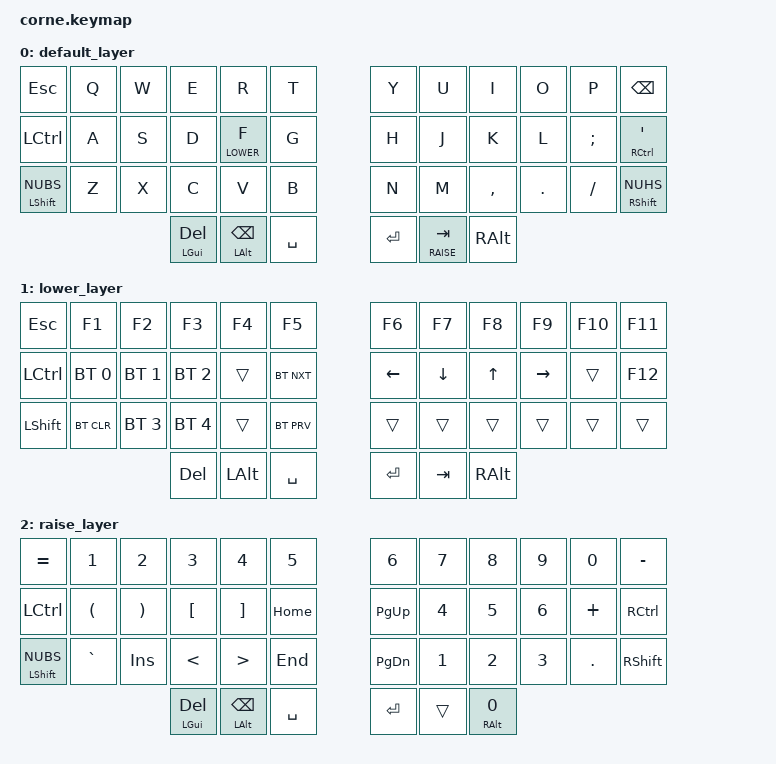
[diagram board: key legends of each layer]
/*
 * Copyright (c) 2020 The ZMK Contributors
 *
 * SPDX-License-Identifier: MIT
 */

#include <behaviors.dtsi>
#include <dt-bindings/zmk/bt.h>
#include <dt-bindings/zmk/keys.h>

#define DEFAULT 0
#define LOWER   1
#define RAISE   2

/ {
    keymap {
        compatible = "zmk,keymap";

        default_layer {
            // -----------------------------------------------------------------------------------------
            // |  ESC |  Q  |  W  |  E  |  R  |  T  |   |  Y  |  U   |  I  |  O  |  P  | BKSP |
            // | CTRL |  A  |  S  |  D  |F LWR|  G  |   |  H  |  J   |  K  |  L  |  ;  |CTRL '|
            // |SHFT \|  Z  |  X  |  C  |  V  |  B  |   |  N  |  M   |  ,  |  .  |  /  |SHFT #|
            //               |GUI DEL|ALT BKSP| SPC |   | ENT |RSE TAB| ALT |

            bindings = <
&kp ESC         &kp Q  &kp W  &kp E         &kp R          &kp T        &kp Y    &kp U          &kp I      &kp O    &kp P     &kp BSPC
&kp LCTRL       &kp A  &kp S  &kp D         &lt LOWER F    &kp G        &kp H    &kp J          &kp K      &kp L    &kp SEMI  &mt RCTRL SQT
&mt LSHFT NUBS  &kp Z  &kp X  &kp C         &kp V          &kp B        &kp N    &kp M          &kp COMMA  &kp DOT  &kp FSLH  &mt RSHFT NUHS
                              &mt LGUI DEL  &mt LALT BSPC  &kp SPACE    &kp RET  &lt RAISE TAB  &kp RALT
            >;
        };

        lower_layer {
            // -----------------------------------------------------------------------------------------
            // | ESC  |  F1 |  F2 |  F3 |  F4 |  F5 |   |  F6 |  F7 |  F8 |  F9 | F10 | F11  |
            // | CTRL | BT1 | BT2 | BT3 | trns|     |   | LFT | DWN |  UP | RGT |     | F12  |
            // | SHFT |BT CLR| BT4| BT5 |     |     |   |     |     |     |     |     |      |
            //                    | DEL | ALT | SPC |   | ENT | TAB | ALT |

            bindings = <
&kp ESC    &kp F1        &kp F2        &kp F3        &kp F4    &kp F5        &kp F6    &kp F7    &kp F8    &kp F9     &kp F10  &kp F11
&kp LCTRL  &bt BT_SEL 0  &bt BT_SEL 1  &bt BT_SEL 2  &trans    &bt BT_NXT    &kp LEFT  &kp DOWN  &kp UP    &kp RIGHT  &trans   &kp F12
&kp LSHFT  &bt BT_CLR    &bt BT_SEL 3  &bt BT_SEL 4  &trans    &bt BT_PRV    &trans    &trans    &trans    &trans     &trans   &trans
                                       &kp DEL       &kp LALT  &kp SPACE     &kp RET   &kp TAB   &kp RALT
            >;
        };

        raise_layer {
            // -----------------------------------------------------------------------------------------
            // |  =   |  1  |  2  |  3  |  4  |  5  |   |  6  |  7  |  8  |  9  |  0  |  -  |
            // | CTRL |  (  |  )  |  [  |  ]  | HOME|   |PG UP|  4  |  5  |  6  |  +  | CTRL|
            // |SHFT \|  `  | INS |  <  |  >  | END |   |PG DN|  1  |  2  |  3  |  .  | SHFT|
            //               |GUI DEL|ALT BKSP| SPC |   | ENT | trns|ALT 0|

            bindings = <
&kp EQUAL       &kp N1     &kp N2    &kp N3        &kp N4         &kp N5       &kp N6     &kp N7  &kp N8       &kp N9  &kp N0    &kp MINUS
&kp LCTRL       &kp LPAR   &kp RPAR  &kp LBKT      &kp RBKT       &kp HOME     &kp PG_UP  &kp N4  &kp N5       &kp N6  &kp PLUS  &kp RCTRL
&mt LSHFT NUBS  &kp GRAVE  &kp INS   &kp LT        &kp GT         &kp END      &kp PG_DN  &kp N1  &kp N2       &kp N3  &kp DOT   &kp RSHFT
                                     &mt LGUI DEL  &mt LALT BSPC  &kp SPACE    &kp RET    &trans  &mt RALT N0
            >;
        };
    };
};
